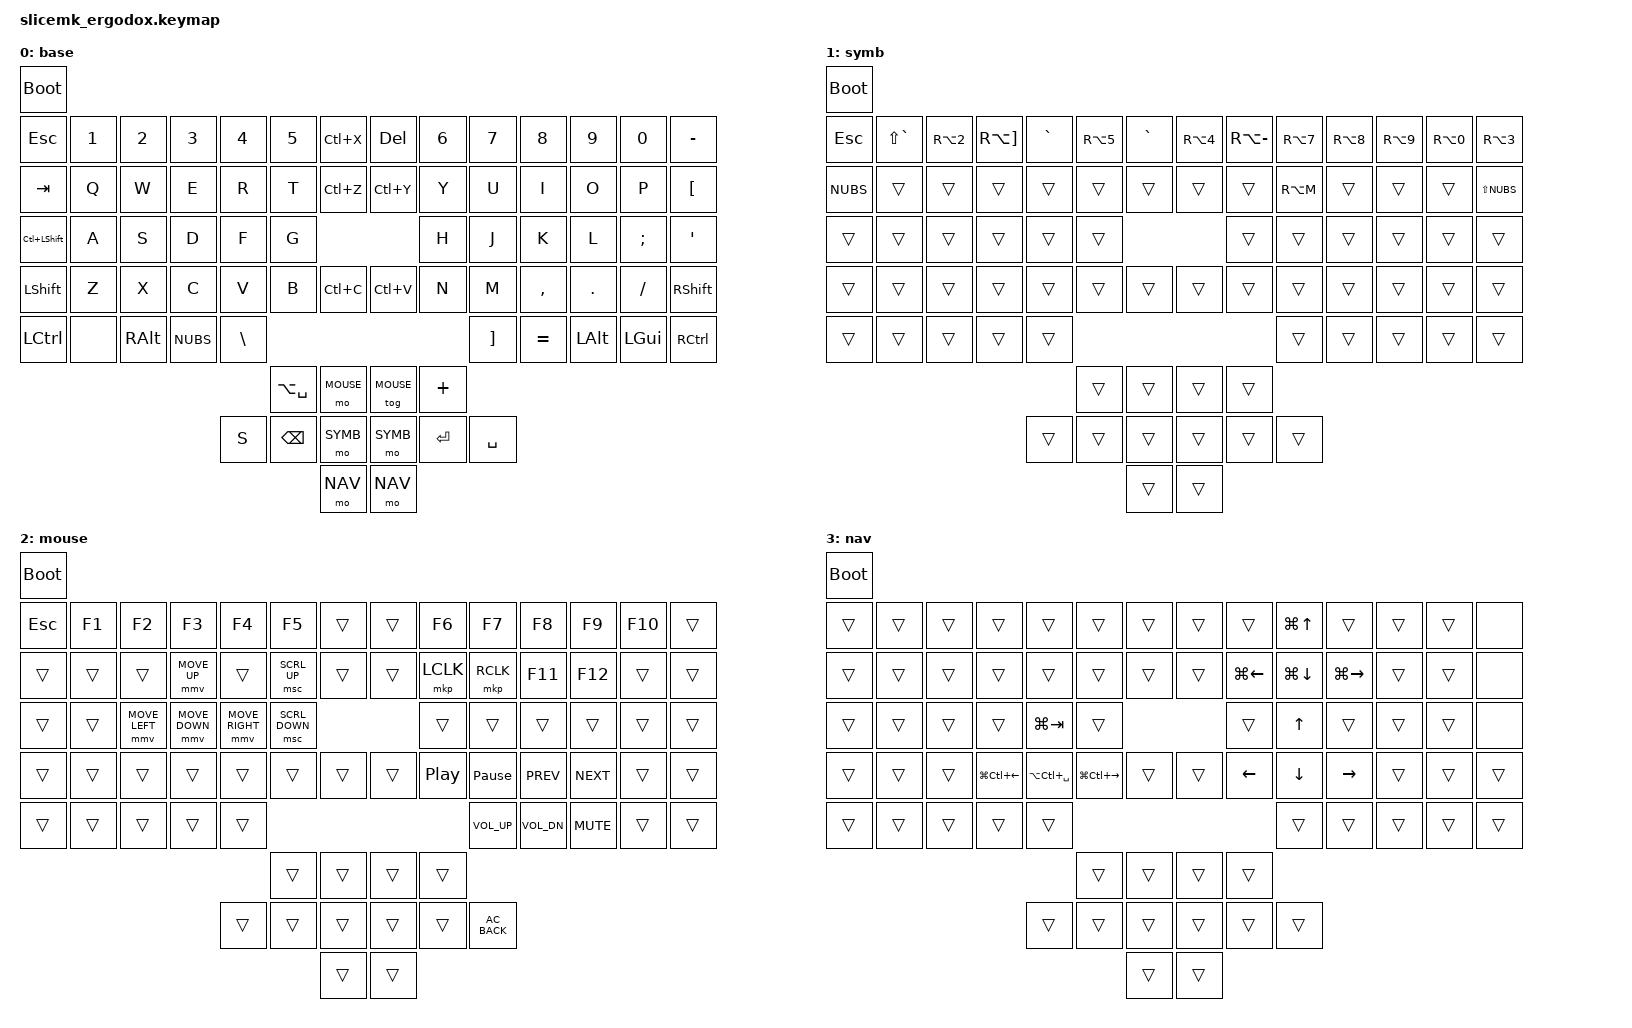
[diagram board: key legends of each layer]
/*
 * ZSA Oryx layout converted to ZMK for the SliceMK ErgoDox Wireless (dongle).
 * The host OS keyboard layout is assumed to be Swedish, as in the original.
 * Key codes are positional, so every key sends the same physical key as before.
 */

#include <behaviors.dtsi>
#include <dt-bindings/zmk/bt.h>
#include <dt-bindings/zmk/keys.h>
#include <dt-bindings/zmk/outputs.h>
#include <dt-bindings/zmk/pointing.h>

#define BASE  0
#define SYMB  1
#define MOUSE 2
#define NAV   3

/ {
	keymap {
		compatible = "zmk,keymap";

		layer_0 {
			display-name = "base";
			bindings = <
				&bootloader
				&kp ESC        &kp N1    &kp N2    &kp N3    &kp N4    &kp N5    &kp LC(X)       &kp DEL     &kp N6    &kp N7    &kp N8    &kp N9    &kp N0    &kp MINUS
				&kp TAB        &kp Q     &kp W     &kp E     &kp R     &kp T     &kp LC(Z)       &kp LC(Y)   &kp Y     &kp U     &kp I     &kp O     &kp P     &kp LBKT
				&kp LC(LSHFT)  &kp A     &kp S     &kp D     &kp F     &kp G                                 &kp H     &kp J     &kp K     &kp L     &kp SEMI  &kp SQT
				&kp LSHFT      &kp Z     &kp X     &kp C     &kp V     &kp B     &kp LC(C)       &kp LC(V)   &kp N     &kp M     &kp COMMA &kp DOT   &kp SLASH &kp RSHFT
				&kp LCTRL      &none     &kp RALT  &kp NUBS  &kp BSLH                                                  &kp RBKT  &kp EQUAL &kp LALT  &kp LGUI  &kp RCTRL
				                                                       &kp LA(SPACE) &mo MOUSE   &tog MOUSE  &kp PLUS
				                                           &kp S       &kp BSPC      &mo SYMB    &mo SYMB    &kp RET   &kp SPACE
				                                                                     &mo NAV     &mo NAV
			>;
		};

		layer_1 {
			display-name = "symb";
			bindings = <
				&bootloader
				&kp ESC    &kp LS(GRAVE) &kp RA(N2) &kp RA(RBKT) &kp GRAVE &kp RA(N5) &kp GRAVE    &kp RA(N4) &kp RA(MINUS) &kp RA(N7) &kp RA(N8) &kp RA(N9) &kp RA(N0) &kp RA(N3)
				&kp NUBS   &trans        &trans     &trans       &trans    &trans     &trans       &trans     &trans        &kp RA(M)  &trans     &trans     &trans     &kp LS(NUBS)
				&trans     &trans        &trans     &trans       &trans    &trans                             &trans        &trans     &trans     &trans     &trans     &trans
				&trans     &trans        &trans     &trans       &trans    &trans     &trans       &trans     &trans        &trans     &trans     &trans     &trans     &trans
				&trans     &trans        &trans     &trans       &trans                                                     &trans     &trans     &trans     &trans     &trans
				                                                           &trans     &trans       &trans     &trans
				                                                 &trans    &trans     &trans       &trans     &trans        &trans
				                                                                      &trans       &trans
			>;
		};

		layer_2 {
			display-name = "mouse";
			bindings = <
				&bootloader
				&kp ESC  &kp F1  &kp F2          &kp F3          &kp F4           &kp F5          &trans     &trans  &kp F6     &kp F7      &kp F8     &kp F9     &kp F10 &trans
				&trans   &trans  &trans          &mmv MOVE_UP    &trans           &msc SCRL_UP    &trans     &trans  &mkp LCLK  &mkp RCLK   &kp F11    &kp F12    &trans  &trans
				&trans   &trans  &mmv MOVE_LEFT  &mmv MOVE_DOWN  &mmv MOVE_RIGHT  &msc SCRL_DOWN                     &trans     &trans      &trans     &trans     &trans  &trans
				&trans   &trans  &trans          &trans          &trans           &trans          &trans     &trans  &kp C_PP   &kp PAUSE_BREAK &kp C_PREV &kp C_NEXT &trans &trans
				&trans   &trans  &trans          &trans          &trans                                                         &kp C_VOL_UP &kp C_VOL_DN &kp C_MUTE &trans &trans
				                                                                  &trans          &trans     &trans  &trans
				                                                 &trans           &trans          &trans     &trans  &trans     &kp C_AC_BACK
				                                                                                  &trans     &trans
			>;
		};

		layer_3 {
			display-name = "nav";
			bindings = <
				&bootloader
				&trans &trans &trans &trans           &trans             &trans            &trans    &trans &trans        &kp LG(UP)   &trans        &trans &trans &none
				&trans &trans &trans &trans           &trans             &trans            &trans    &trans &kp LG(LEFT)  &kp LG(DOWN) &kp LG(RIGHT) &trans &trans &none
				&trans &trans &trans &trans           &kp LG(TAB)        &trans                             &trans        &kp UP       &trans        &trans &trans &none
				&trans &trans &trans &kp LG(LC(LEFT)) &kp LA(LC(SPACE))  &kp LG(LC(RIGHT)) &trans    &trans &kp LEFT      &kp DOWN     &kp RIGHT     &trans &trans &trans
				&trans &trans &trans &trans           &trans                                                              &trans       &trans        &trans &trans &trans
				                                                         &trans            &trans    &trans &trans
				                                      &trans             &trans            &trans    &trans &trans        &trans
				                                                                           &trans    &trans
			>;
		};
	};
};
